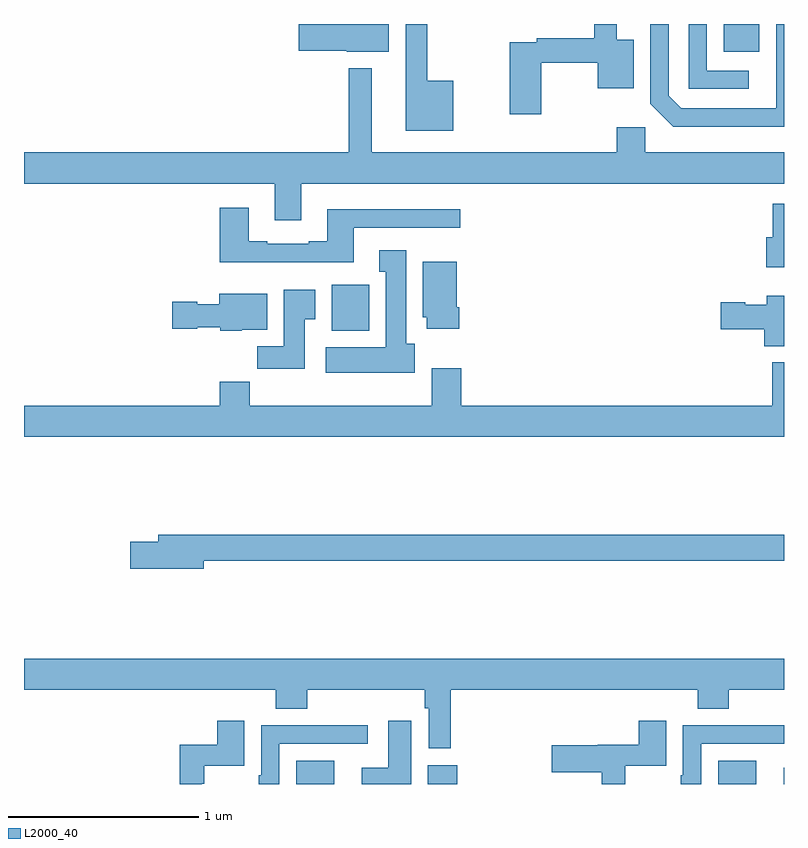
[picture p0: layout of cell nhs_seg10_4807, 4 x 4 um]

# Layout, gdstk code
import gdstk
lib = gdstk.Library(unit=1e-6, precision=1e-09)
def R(c, l, rs):  # rectangles x0, y0, x1, y1
    for r in rs: c.add(gdstk.rectangle(r[:2], r[2:], *l))
def P(c, l, *ps):  # polygons
    for p in ps: c.add(gdstk.Polygon(p, *l))
L2000_40 = (2000, 40)

nhs_seg10_4807 = lib.new_cell('nhs_seg10_4807')
R(nhs_seg10_4807, L2000_40, [(388.433,1286.5,388.633,1286.623), (389.126,1286.5,389.279,1286.599), (390.653,1286.5,390.853,1286.623), (390.998,1286.5,391,1286.586), (388.619,1288.886,388.816,1289.128), (390.683,1290.353,390.871,1290.5)])
P(nhs_seg10_4807, L2000_40, [(391,1290.5),(390.96,1290.5),(390.96,1290.257),(390.959,1290.257),(390.959,1290.057),(390.459,1290.057),(390.393,1290.123),(390.393,1290.5),(390.297,1290.5),(390.297,1290.081),(390.418,1289.96),(391,1289.96)],
  [(390.814,1290.255),(390.594,1290.255),(390.594,1290.5),(390.498,1290.5),(390.498,1290.159),(390.814,1290.159)],
  [(388.921,1290.5),(388.446,1290.5),(388.446,1290.359),(388.698,1290.359),(388.698,1290.353),(388.921,1290.353)],
  [(389.26,1290.202),(389.123,1290.202),(389.123,1290.5),(389.009,1290.5),(389.009,1289.939),(389.26,1289.939)],
  [(389.722,1290.297),(390.02,1290.297),(390.02,1290.161),(390.208,1290.161),(390.208,1290.418),(390.119,1290.418),(390.119,1290.5),(390.001,1290.5),(390.001,1290.425),(389.698,1290.425),(389.698,1290.405),(389.557,1290.405),(389.557,1290.024),(389.722,1290.024)],
  [(388.459,1289.66),(391,1289.66),(391,1289.824),(390.27,1289.824),(390.27,1289.956),(390.119,1289.956),(390.119,1289.824),(388.831,1289.824),(388.831,1290.268),(388.71,1290.268),(388.71,1289.824),(387,1289.824),(387,1289.66),(388.319,1289.66),(388.319,1289.466),(388.459,1289.466)],
  [(391,1289.554),(390.94,1289.554),(390.94,1289.377),(390.906,1289.377),(390.906,1289.219),(391,1289.219)],
  [(388.735,1289.427),(389.296,1289.427),(389.296,1289.524),(388.595,1289.524),(388.595,1289.356),(388.499,1289.356),(388.499,1289.343),(388.279,1289.343),(388.279,1289.356),(388.183,1289.356),(388.183,1289.533),(388.031,1289.533),(388.031,1289.246),(388.735,1289.246)],
  [(389.056,1288.818),(389.011,1288.818),(389.011,1289.308),(388.871,1289.308),(388.871,1289.195),(388.904,1289.195),(388.904,1288.798),(388.587,1288.798),(388.587,1288.664),(389.056,1288.664)],
  [(389.291,1289.008),(389.278,1289.008),(389.278,1289.248),(389.099,1289.248),(389.099,1288.956),(389.12,1288.956),(389.12,1288.896),(389.291,1288.896)],
  [(388.477,1288.945),(388.534,1288.945),(388.534,1289.101),(388.367,1289.101),(388.367,1288.804),(388.228,1288.804),(388.228,1288.686),(388.477,1288.686)],
  [(388.146,1288.892),(388.279,1288.892),(388.279,1289.08),(388.028,1289.08),(388.028,1289.026),(387.912,1289.026),(387.912,1289.039),(387.78,1289.039),(387.78,1288.897),(387.912,1288.897),(387.912,1288.904),(388.032,1288.904),(388.032,1288.886),(388.146,1288.886)],
  [(391,1289.071),(390.908,1289.071),(390.908,1289.023),(390.795,1289.023),(390.795,1289.036),(390.666,1289.036),(390.666,1288.894),(390.896,1288.894),(390.896,1288.805),(391,1288.805)],
  [(391,1288.72),(390.937,1288.72),(390.937,1288.492),(389.3,1288.492),(389.3,1288.687),(389.147,1288.687),(389.147,1288.492),(388.187,1288.492),(388.187,1288.616),(388.031,1288.616),(388.031,1288.492),(387,1288.492),(387,1288.328),(391,1288.328)],
  [(387.946,1287.676),(391,1287.676),(391,1287.812),(387.707,1287.812),(387.707,1287.776),(387.558,1287.776),(387.558,1287.634),(387.946,1287.634)],
  [(389.246,1286.996),(390.545,1286.996),(390.545,1286.897),(390.71,1286.897),(390.71,1286.996),(391,1286.996),(391,1287.16),(387,1287.16),(387,1286.996),(388.325,1286.996),(388.325,1286.897),(388.49,1286.897),(388.49,1286.996),(389.11,1286.996),(389.11,1286.9),(389.13,1286.9),(389.13,1286.688),(389.246,1286.688)],
  [(389.038,1286.833),(388.916,1286.833),(388.916,1286.586),(388.778,1286.586),(388.778,1286.5),(389.038,1286.5)],
  [(390.165,1286.597),(390.379,1286.597),(390.379,1286.833),(390.236,1286.833),(390.236,1286.707),(390.021,1286.707),(390.021,1286.703),(389.778,1286.703),(389.778,1286.561),(390.04,1286.561),(390.04,1286.5),(390.165,1286.5)],
  [(387.936,1286.501),(387.949,1286.501),(387.949,1286.597),(388.159,1286.597),(388.159,1286.833),(388.016,1286.833),(388.016,1286.707),(387.82,1286.707),(387.82,1286.5),(387.936,1286.5)],
  [(390.564,1286.712),(391,1286.712),(391,1286.81),(390.793,1286.81),(390.793,1286.808),(390.468,1286.808),(390.468,1286.545),(390.456,1286.545),(390.456,1286.5),(390.564,1286.5)],
  [(388.344,1286.712),(388.81,1286.712),(388.81,1286.81),(388.573,1286.81),(388.573,1286.808),(388.248,1286.808),(388.248,1286.545),(388.236,1286.545),(388.236,1286.5),(388.344,1286.5)])

lib.write_gds('nhs_seg10_4807.gds')
